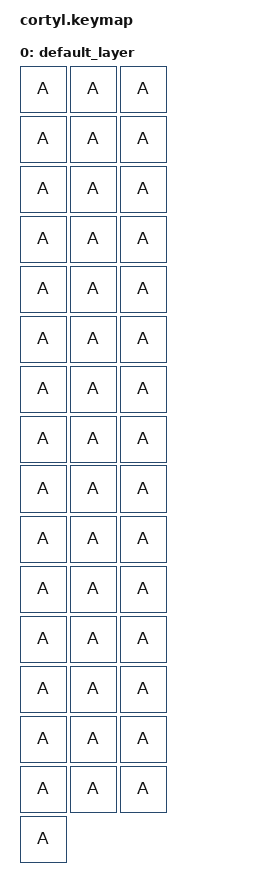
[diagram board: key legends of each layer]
#include <behaviors.dtsi>
#include <dt-bindings/zmk/keys.h>

/ {
    keymap {
        compatible = "zmk,keymap";

        default_layer { // Layer 0
            // -------------------------------------
            // |     Z     |     M     |     K     |
            // |     A     |     B     |     C     |
            // |     D     |     E     |     F     |
            bindings = <
                &kp A    &kp A    &kp A
                &kp A    &kp A    &kp A
                &kp A    &kp A    &kp A
                &kp A    &kp A    &kp A
                &kp A    &kp A    &kp A
                &kp A    &kp A    &kp A
                &kp A    &kp A    &kp A
                &kp A    &kp A    &kp A
                &kp A    &kp A    &kp A
                &kp A    &kp A    &kp A
                &kp A    &kp A    &kp A
                &kp A    &kp A    &kp A
                &kp A    &kp A    &kp A
                &kp A    &kp A    &kp A
                &kp A    &kp A    &kp A
                &kp A
            >;
        };
    };
 };
